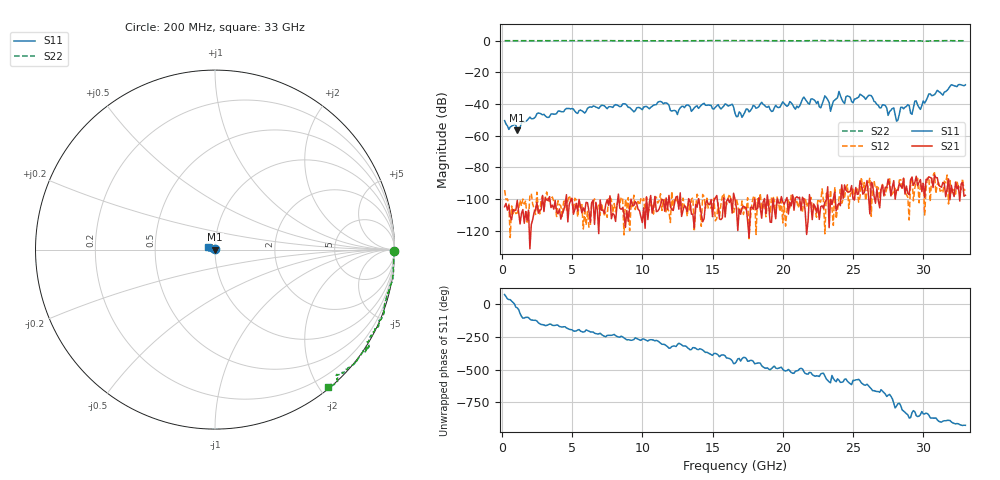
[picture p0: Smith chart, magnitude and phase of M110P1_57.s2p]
# GHZ S RI R 50
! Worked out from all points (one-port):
!   329 points, 200 MHz to 33 GHz, reference 50 ohm
!   lowest |S11| = -56.7 dB at 1.1 GHz (marker M1), VSWR 1.00, Z = 50.1 - j0.0726 ohm
!   |S11| at or under -10 dB: start of sweep to end of sweep
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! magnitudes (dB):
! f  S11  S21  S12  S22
! 200 MHz  -50.5  -105.0  -94.4  0.0
! 1.1 GHz  -56.7  -100.9  -108.9  0.0
! 2.6 GHz  -45.7  -109.0  -107.3  0.0
! 5.7 GHz  -44.4  -108.8  -103.5  0.0
! 11.2 GHz  -38.5  -106.3  -101.1  -0.1
! 12.5 GHz  -46.7  -98.3  -101.7  -0.1
! 14.4 GHz  -39.6  -112.5  -98.6  0.0
! 16.6 GHz  -45.9  -100.2  -104.9  0.0
! 22.1 GHz  -36.8  -113.1  -105.9  0.0
! 22.7 GHz  -42.5  -104.9  -102.0  0.1
! 23 GHz  -34.9  -102.1  -122.0  0.0
! 23.4 GHz  -44.6  -100.3  -94.4  0.1
! 24 GHz  -32.1  -102.6  -99.9  0.0
! 24.4 GHz  -39.7  -91.2  -98.8  0.0
! 26.2 GHz  -34.5  -109.5  -86.6  0.0
! 27.6 GHz  -44.9  -90.6  -86.5  -0.1
! 28.1 GHz  -50.9  -94.6  -96.2  -0.1
! 28.4 GHz  -42.1  -92.0  -87.9  -0.1
! 29.2 GHz  -46.5  -86.2  -86.7  -0.1
! 29.4 GHz  -38.2  -89.6  -93.2  -0.1
! 29.8 GHz  -43.4  -87.8  -90.2  -0.2
! 33 GHz  -27.9  -97.7  -94.3  -0.1
